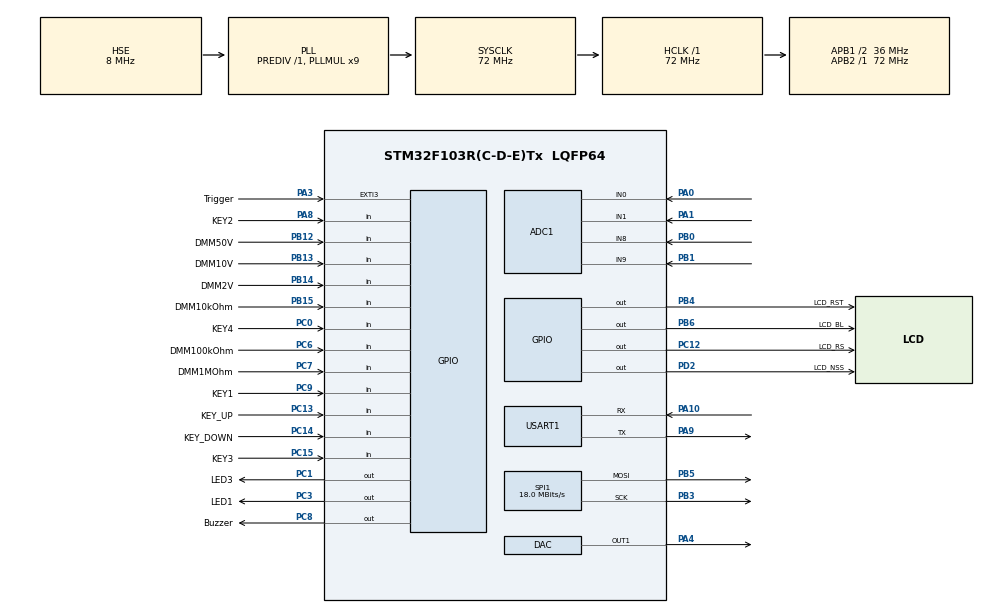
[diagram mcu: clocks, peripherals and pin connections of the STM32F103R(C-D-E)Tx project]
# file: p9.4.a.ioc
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ADC1.Channel-0\#ChannelRegularConversion=ADC_CHANNEL_1
ADC1.Channel-1\#ChannelInjectedConversion=ADC_CHANNEL_9
ADC1.Channel-2\#ChannelInjectedConversion=ADC_CHANNEL_VREFINT
ADC1.Channel-3\#ChannelInjectedConversion=ADC_CHANNEL_8
ADC1.Channel-4\#ChannelInjectedConversion=ADC_CHANNEL_0
ADC1.EnableInjectedConversion=ENABLE
ADC1.ExternalTrigConv=ADC_EXTERNALTRIGCONV_T3_TRGO
ADC1.ExternalTrigInjecConv=ADC_EXTERNALTRIGINJECCONV_T2_TRGO
ADC1.InjNumberOfConversion=4
ADC1.InjectedOffset-1\#ChannelInjectedConversion=0
ADC1.InjectedOffset-2\#ChannelInjectedConversion=0
ADC1.InjectedOffset-3\#ChannelInjectedConversion=0
ADC1.InjectedOffset-4\#ChannelInjectedConversion=0
ADC1.InjectedRank-1\#ChannelInjectedConversion=1
ADC1.InjectedRank-2\#ChannelInjectedConversion=2
ADC1.InjectedRank-3\#ChannelInjectedConversion=3
ADC1.InjectedRank-4\#ChannelInjectedConversion=4
ADC1.NbrOfConversionFlag=1
ADC1.Rank-0\#ChannelRegularConversion=1
ADC1.SamplingTime-0\#ChannelRegularConversion=ADC_SAMPLETIME_1CYCLE_5
ADC1.SamplingTime-1\#ChannelInjectedConversion=ADC_SAMPLETIME_1CYCLE_5
ADC1.SamplingTime-2\#ChannelInjectedConversion=ADC_SAMPLETIME_239CYCLES_5
ADC1.SamplingTime-3\#ChannelInjectedConversion=ADC_SAMPLETIME_1CYCLE_5
ADC1.SamplingTime-4\#ChannelInjectedConversion=ADC_SAMPLETIME_13CYCLES_5
ADC1.master=1
DAC.DAC_OutputBuffer=DAC_OUTPUTBUFFER_DISABLE
DAC.DAC_Trigger=DAC_TRIGGER_T5_TRGO
Dma.ADC1.1.Direction=DMA_PERIPH_TO_MEMORY
Dma.ADC1.1.Instance=DMA1_Channel1
Dma.ADC1.1.MemDataAlignment=DMA_MDATAALIGN_HALFWORD
Dma.ADC1.1.MemInc=DMA_MINC_ENABLE
Dma.ADC1.1.Mode=DMA_NORMAL
Dma.ADC1.1.PeriphDataAlignment=DMA_PDATAALIGN_HALFWORD
Dma.ADC1.1.PeriphInc=DMA_PINC_DISABLE
Dma.ADC1.1.Priority=DMA_PRIORITY_LOW
Dma.DAC_CH1.2.Direction=DMA_MEMORY_TO_PERIPH
Dma.DAC_CH1.2.Instance=DMA2_Channel3
Dma.DAC_CH1.2.MemDataAlignment=DMA_MDATAALIGN_HALFWORD
Dma.DAC_CH1.2.MemInc=DMA_MINC_ENABLE
Dma.DAC_CH1.2.Mode=DMA_CIRCULAR
Dma.DAC_CH1.2.PeriphDataAlignment=DMA_PDATAALIGN_HALFWORD
Dma.DAC_CH1.2.PeriphInc=DMA_PINC_DISABLE
Dma.DAC_CH1.2.Priority=DMA_PRIORITY_LOW
Dma.Request0=SPI1_TX
Dma.Request1=ADC1
Dma.Request2=DAC_CH1
Dma.SPI1_TX.0.Direction=DMA_MEMORY_TO_PERIPH
Dma.SPI1_TX.0.Instance=DMA1_Channel3
Dma.SPI1_TX.0.MemDataAlignment=DMA_MDATAALIGN_BYTE
Dma.SPI1_TX.0.MemInc=DMA_MINC_ENABLE
Dma.SPI1_TX.0.Mode=DMA_NORMAL
Dma.SPI1_TX.0.PeriphDataAlignment=DMA_PDATAALIGN_BYTE
Dma.SPI1_TX.0.PeriphInc=DMA_PINC_DISABLE
Dma.SPI1_TX.0.Priority=DMA_PRIORITY_LOW
Mcu.Family=STM32F1
Mcu.Name=STM32F103R(C-D-E)Tx
Mcu.Package=LQFP64
NVIC.ADC1_2_IRQn=true\:15\:0\:true\:false\:true\:true\:true\:true
NVIC.DMA1_Channel1_IRQn=true\:6\:0\:true\:false\:true\:false\:true\:true
NVIC.DMA1_Channel3_IRQn=true\:6\:0\:true\:false\:true\:false\:true\:true
NVIC.DMA2_Channel3_IRQn=true\:0\:0\:false\:false\:true\:false\:true\:true
NVIC.EXTI3_IRQn=true\:5\:0\:true\:false\:true\:true\:true\:true
NVIC.PriorityGroup=NVIC_PRIORITYGROUP_4
NVIC.TIM6_IRQn=true\:0\:0\:true\:false\:true\:false\:true\:true
NVIC.TimeBase=TIM6_IRQn
NVIC.TimeBaseIP=TIM6
PA0-WKUP.Signal=ADCx_IN0
PA1.Signal=ADCx_IN1
PA10.Mode=Asynchronous
PA10.Signal=USART1_RX
PA13.Mode=Serial_Wire
PA13.Signal=SYS_JTMS-SWDIO
PA14.Mode=Serial_Wire
PA14.Signal=SYS_JTCK-SWCLK
PA3.GPIO_Label=Trigger
PA3.Signal=GPXTI3
PA4.Signal=COMP_DAC1_group
PA8.GPIO_Label=KEY2
PA8.GPIO_PuPd=GPIO_PULLUP
PA8.Signal=GPIO_Input
PA9.Mode=Asynchronous
PA9.Signal=USART1_TX
PB0.Signal=ADCx_IN8
PB1.Signal=ADCx_IN9
PB12.GPIO_Label=DMM50V
PB12.GPIO_PuPd=GPIO_PULLDOWN
PB12.Signal=GPIO_Input
PB13.GPIO_Label=DMM10V
PB13.GPIO_PuPd=GPIO_PULLDOWN
PB13.Signal=GPIO_Input
PB14.GPIO_Label=DMM2V
PB14.GPIO_PuPd=GPIO_PULLDOWN
PB14.Signal=GPIO_Input
PB15.GPIO_Label=DMM10kOhm
PB15.GPIO_PuPd=GPIO_PULLDOWN
PB15.Signal=GPIO_Input
PB3.Mode=TX_Only_Simplex_Unidirect_Master
PB3.Signal=SPI1_SCK
PB4.GPIO_Label=LCD_RST
PB4.Signal=GPIO_Output
PB5.Mode=TX_Only_Simplex_Unidirect_Master
PB5.Signal=SPI1_MOSI
PB6.GPIO_Label=LCD_BL
PB6.Signal=GPIO_Output
PC0.GPIO_Label=KEY4
PC0.GPIO_PuPd=GPIO_PULLUP
PC0.Signal=GPIO_Input
PC1.GPIO_Label=LED3
PC1.Signal=GPIO_Output
PC12.GPIO_Label=LCD_RS
PC12.Signal=GPIO_Output
PC13-TAMPER-RTC.GPIO_Label=KEY_UP
PC13-TAMPER-RTC.GPIO_PuPd=GPIO_PULLUP
PC13-TAMPER-RTC.Signal=GPIO_Input
PC14-OSC32_IN.GPIO_Label=KEY_DOWN
PC14-OSC32_IN.GPIO_PuPd=GPIO_PULLUP
PC14-OSC32_IN.Signal=GPIO_Input
PC15-OSC32_OUT.GPIO_Label=KEY3
PC15-OSC32_OUT.GPIO_PuPd=GPIO_PULLUP
PC15-OSC32_OUT.Signal=GPIO_Input
PC3.GPIO_Label=LED1
PC3.Signal=GPIO_Output
PC6.GPIO_Label=DMM100kOhm
PC6.GPIO_PuPd=GPIO_PULLDOWN
PC6.Signal=GPIO_Input
PC7.GPIO_Label=DMM1MOhm
PC7.GPIO_PuPd=GPIO_PULLDOWN
PC7.Signal=GPIO_Input
PC8.GPIO_Label=Buzzer
PC8.GPIO_ModeDefaultOutputPP=GPIO_MODE_OUTPUT_PP
PC8.Signal=GPIO_Output
PC9.GPIO_Label=KEY1
PC9.GPIO_PuPd=GPIO_PULLUP
PC9.Signal=GPIO_Input
PD0-OSC_IN.Mode=HSE-External-Oscillator
PD0-OSC_IN.Signal=RCC_OSC_IN
PD1-OSC_OUT.Mode=HSE-External-Oscillator
PD1-OSC_OUT.Signal=RCC_OSC_OUT
PD2.GPIO_Label=LCD_NSS
PD2.PinState=GPIO_PIN_SET
PD2.Signal=GPIO_Output
ProjectManager.HeapSize=0x200
ProjectManager.StackSize=0x400
ProjectManager.TargetToolchain=STM32CubeIDE
RCC.ADCPresc=RCC_ADCPCLK2_DIV6
RCC.AHBFreq_Value=72000000
RCC.APB1CLKDivider=RCC_HCLK_DIV2
RCC.APB1Freq_Value=36000000
RCC.APB1TimFreq_Value=72000000
RCC.APB2Freq_Value=72000000
RCC.APB2TimFreq_Value=72000000
RCC.HCLKFreq_Value=72000000
RCC.PLLMUL=RCC_PLL_MUL9
RCC.PLLSourceVirtual=RCC_PLLSOURCE_HSE
RCC.SYSCLKFreq_VALUE=72000000
RCC.SYSCLKSource=RCC_SYSCLKSOURCE_PLLCLK
RCC.USBFreq_Value=72000000
SH.ADCx_IN0.0=ADC1_IN0,IN0
SH.ADCx_IN1.0=ADC1_IN1,IN1
SH.ADCx_IN8.0=ADC1_IN8,IN8
SH.ADCx_IN9.0=ADC1_IN9,IN9
SH.COMP_DAC1_group.0=DAC_OUT1,DAC_OUT1
SPI1.BaudRatePrescaler=SPI_BAUDRATEPRESCALER_4
SPI1.CalculateBaudRate=18.0 MBits/s
SPI1.Direction=SPI_DIRECTION_2LINES
SPI1.Mode=SPI_MODE_MASTER
SPI1.VirtualType=VM_MASTER
TIM2.Period=999
TIM2.Prescaler=7199
TIM2.TIM_MasterOutputTrigger=TIM_TRGO_UPDATE
TIM3.AutoReloadPreload=TIM_AUTORELOAD_PRELOAD_ENABLE
TIM3.Period=561
TIM3.Prescaler=0
TIM3.TIM_MasterOutputTrigger=TIM_TRGO_UPDATE
TIM5.AutoReloadPreload=TIM_AUTORELOAD_PRELOAD_ENABLE
TIM5.Period=1
TIM5.Prescaler=71
TIM5.TIM_MasterOutputTrigger=TIM_TRGO_UPDATE
TIM5.TIM_MasterSlaveMode=TIM_MASTERSLAVEMODE_DISABLE
USART1.VirtualMode=VM_ASYNC
VP_ADC1_Vref_Input.Mode=IN-Vrefint
VP_SYS_VS_tim6.Mode=TIM6
VP_TIM2_VS_ClockSourceINT.Mode=Internal
VP_TIM3_VS_ClockSourceINT.Mode=Internal
VP_TIM5_VS_ClockSourceINT.Mode=Internal
board=custom

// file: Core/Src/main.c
/* USER CODE BEGIN Header */
/**
  ******************************************************************************
  * @file           : main.c
  * @brief          : Main program body
  ******************************************************************************
  * @attention
  *
  * Copyright (c) 2026 STMicroelectronics.
  * All rights reserved.
  *
  * This software is licensed under terms that can be found in the LICENSE file
  * in the root directory of this software component.
  * If no LICENSE file comes with this software, it is provided AS-IS.
  *
  ******************************************************************************
  */
/* USER CODE END Header */
#include "main.h"

/* USER CODE BEGIN Includes */
#include "FreeRTOS.h"
#include "task.h"
#include "key_task.h"
#include "buzzer_task.h"
#include "lcd_task.h"
#include "led_task.h"
#include "dmm.h"
#include "waveform_capture.h"
#include "waveform_generator.h"
/* USER CODE END Includes */

ADC_HandleTypeDef hadc1;
DMA_HandleTypeDef hdma_adc1;

DAC_HandleTypeDef hdac;
DMA_HandleTypeDef hdma_dac_ch1;

SPI_HandleTypeDef hspi1;
DMA_HandleTypeDef hdma_spi1_tx;

TIM_HandleTypeDef htim2;
TIM_HandleTypeDef htim3;
TIM_HandleTypeDef htim5;

UART_HandleTypeDef huart1;

void SystemClock_Config(void);
static void MX_GPIO_Init(void);
static void MX_DMA_Init(void);
static void MX_USART1_UART_Init(void);
static void MX_SPI1_Init(void);
static void MX_ADC1_Init(void);
static void MX_TIM2_Init(void);
static void MX_TIM3_Init(void);
static void MX_DAC_Init(void);
static void MX_TIM5_Init(void);

int main(void)
{

  /* MCU Configuration--------------------------------------------------------*/

  /* Reset of all peripherals, Initializes the Flash interface and the Systick. */
  HAL_Init();

  /* Configure the system clock */
  SystemClock_Config();

  /* Initialize all configured peripherals */
  MX_GPIO_Init();
  MX_DMA_Init();
  MX_USART1_UART_Init();
  MX_SPI1_Init();
  MX_ADC1_Init();
  MX_TIM2_Init();
  MX_TIM3_Init();
  MX_DAC_Init();
  MX_TIM5_Init();
  /* USER CODE BEGIN 2 */

  Buzzer_Init();	//蜂鸣器初始化
  vDMMInit(); // 对数字万用表模块进行初始化
  vLCDTaskInit();	//对LCD任务初始化
  WaveformCapture_Init();	//对波形捕捉器进行初始化
  WaveformGenerator_Init();//初始化波形发生器

	  //创建按钮任务
  xTaskCreate(vKeyTask, "Key", 128, NULL, 3, NULL);

	  //创建蜂鸣器任务
  xTaskCreate(vBuzzerTask, "Buzzer", 128, NULL, 1, NULL);

  	  //创建LCD任务
  xTaskCreate(vLCDTask,"LCD",256,NULL,1,NULL);

  	  //创建LED任务（测试使用）
  xTaskCreate(vLEDTask, "LED", 128, NULL, 0, NULL);

  //启动FreeRTOS调度器
  vTaskStartScheduler();

  /* USER CODE END 2 */

  /* Infinite loop */
  while (1)
  {

  }
}

void SystemClock_Config(void)
{
  RCC_OscInitTypeDef RCC_OscInitStruct = {0};
  RCC_ClkInitTypeDef RCC_ClkInitStruct = {0};
  RCC_PeriphCLKInitTypeDef PeriphClkInit = {0};

  /** Initializes the RCC Oscillators according to the specified parameters
  * in the RCC_OscInitTypeDef structure.
  */
  RCC_OscInitStruct.OscillatorType = RCC_OSCILLATORTYPE_HSE;
  RCC_OscInitStruct.HSEState = RCC_HSE_ON;
  RCC_OscInitStruct.HSEPredivValue = RCC_HSE_PREDIV_DIV1;
  RCC_OscInitStruct.HSIState = RCC_HSI_ON;
  RCC_OscInitStruct.PLL.PLLState = RCC_PLL_ON;
  RCC_OscInitStruct.PLL.PLLSource = RCC_PLLSOURCE_HSE;
  RCC_OscInitStruct.PLL.PLLMUL = RCC_PLL_MUL9;
  if (HAL_RCC_OscConfig(&RCC_OscInitStruct) != HAL_OK)
  {
    Error_Handler();
  }

  /** Initializes the CPU, AHB and APB buses clocks
  */
  RCC_ClkInitStruct.ClockType = RCC_CLOCKTYPE_HCLK|RCC_CLOCKTYPE_SYSCLK
                              |RCC_CLOCKTYPE_PCLK1|RCC_CLOCKTYPE_PCLK2;
  RCC_ClkInitStruct.SYSCLKSource = RCC_SYSCLKSOURCE_PLLCLK;
  RCC_ClkInitStruct.AHBCLKDivider = RCC_SYSCLK_DIV1;
  RCC_ClkInitStruct.APB1CLKDivider = RCC_HCLK_DIV2;
  RCC_ClkInitStruct.APB2CLKDivider = RCC_HCLK_DIV1;

  if (HAL_RCC_ClockConfig(&RCC_ClkInitStruct, FLASH_LATENCY_2) != HAL_OK)
  {
    Error_Handler();
  }
  PeriphClkInit.PeriphClockSelection = RCC_PERIPHCLK_ADC;
  PeriphClkInit.AdcClockSelection = RCC_ADCPCLK2_DIV6;
  if (HAL_RCCEx_PeriphCLKConfig(&PeriphClkInit) != HAL_OK)
  {
    Error_Handler();
  }
}

static void MX_ADC1_Init(void)
{

  ADC_ChannelConfTypeDef sConfig = {0};
  ADC_InjectionConfTypeDef sConfigInjected = {0};

  /** Common config
  */
  hadc1.Instance = ADC1;
  hadc1.Init.ScanConvMode = ADC_SCAN_ENABLE;
  hadc1.Init.ContinuousConvMode = DISABLE;
  hadc1.Init.DiscontinuousConvMode = DISABLE;
  hadc1.Init.ExternalTrigConv = ADC_EXTERNALTRIGCONV_T3_TRGO;
  hadc1.Init.DataAlign = ADC_DATAALIGN_RIGHT;
  hadc1.Init.NbrOfConversion = 1;
  if (HAL_ADC_Init(&hadc1) != HAL_OK)
  {
    Error_Handler();
  }

  /** Configure Regular Channel
  */
  sConfig.Channel = ADC_CHANNEL_1;
  sConfig.Rank = ADC_REGULAR_RANK_1;
  sConfig.SamplingTime = ADC_SAMPLETIME_1CYCLE_5;
  if (HAL_ADC_ConfigChannel(&hadc1, &sConfig) != HAL_OK)
  {
    Error_Handler();
  }

  /** Configure Injected Channel
  */
  sConfigInjected.InjectedChannel = ADC_CHANNEL_9;
  sConfigInjected.InjectedRank = ADC_INJECTED_RANK_1;
  sConfigInjected.InjectedNbrOfConversion = 4;
  sConfigInjected.InjectedSamplingTime = ADC_SAMPLETIME_1CYCLE_5;
  sConfigInjected.ExternalTrigInjecConv = ADC_EXTERNALTRIGINJECCONV_T2_TRGO;
  sConfigInjected.AutoInjectedConv = DISABLE;
  sConfigInjected.InjectedDiscontinuousConvMode = DISABLE;
  sConfigInjected.InjectedOffset = 0;
  if (HAL_ADCEx_InjectedConfigChannel(&hadc1, &sConfigInjected) != HAL_OK)
  {
    Error_Handler();
  }

  /** Configure Injected Channel
  */
  sConfigInjected.InjectedChannel = ADC_CHANNEL_VREFINT;
  sConfigInjected.InjectedRank = ADC_INJECTED_RANK_2;
  sConfigInjected.InjectedSamplingTime = ADC_SAMPLETIME_239CYCLES_5;
  if (HAL_ADCEx_InjectedConfigChannel(&hadc1, &sConfigInjected) != HAL_OK)
  {
    Error_Handler();
  }

  /** Configure Injected Channel
  */
  sConfigInjected.InjectedChannel = ADC_CHANNEL_8;
  sConfigInjected.InjectedRank = ADC_INJECTED_RANK_3;
  sConfigInjected.InjectedSamplingTime = ADC_SAMPLETIME_1CYCLE_5;
  if (HAL_ADCEx_InjectedConfigChannel(&hadc1, &sConfigInjected) != HAL_OK)
  {
    Error_Handler();
  }

  /** Configure Injected Channel
  */
  sConfigInjected.InjectedChannel = ADC_CHANNEL_0;
  sConfigInjected.InjectedRank = ADC_INJECTED_RANK_4;
  sConfigInjected.InjectedSamplingTime = ADC_SAMPLETIME_13CYCLES_5;
  if (HAL_ADCEx_InjectedConfigChannel(&hadc1, &sConfigInjected) != HAL_OK)
  {
    Error_Handler();
  }

}

static void MX_DAC_Init(void)
{

  DAC_ChannelConfTypeDef sConfig = {0};

  /** DAC Initialization
  */
  hdac.Instance = DAC;
  if (HAL_DAC_Init(&hdac) != HAL_OK)
  {
    Error_Handler();
  }

  /** DAC channel OUT1 config
  */
  sConfig.DAC_Trigger = DAC_TRIGGER_T5_TRGO;
  sConfig.DAC_OutputBuffer = DAC_OUTPUTBUFFER_DISABLE;
  if (HAL_DAC_ConfigChannel(&hdac, &sConfig, DAC_CHANNEL_1) != HAL_OK)
  {
    Error_Handler();
  }

}

static void MX_SPI1_Init(void)
{

  /* SPI1 parameter configuration*/
  hspi1.Instance = SPI1;
  hspi1.Init.Mode = SPI_MODE_MASTER;
  hspi1.Init.Direction = SPI_DIRECTION_2LINES;
  hspi1.Init.DataSize = SPI_DATASIZE_8BIT;
  hspi1.Init.CLKPolarity = SPI_POLARITY_LOW;
  hspi1.Init.CLKPhase = SPI_PHASE_1EDGE;
  hspi1.Init.NSS = SPI_NSS_SOFT;
  hspi1.Init.BaudRatePrescaler = SPI_BAUDRATEPRESCALER_4;
  hspi1.Init.FirstBit = SPI_FIRSTBIT_MSB;
  hspi1.Init.TIMode = SPI_TIMODE_DISABLE;
  hspi1.Init.CRCCalculation = SPI_CRCCALCULATION_DISABLE;
  hspi1.Init.CRCPolynomial = 10;
  if (HAL_SPI_Init(&hspi1) != HAL_OK)
  {
    Error_Handler();
  }

}

static void MX_TIM2_Init(void)
{

  TIM_ClockConfigTypeDef sClockSourceConfig = {0};
  TIM_MasterConfigTypeDef sMasterConfig = {0};

  htim2.Instance = TIM2;
  htim2.Init.Prescaler = 7199;
  htim2.Init.CounterMode = TIM_COUNTERMODE_UP;
  htim2.Init.Period = 999;
  htim2.Init.ClockDivision = TIM_CLOCKDIVISION_DIV1;
  htim2.Init.AutoReloadPreload = TIM_AUTORELOAD_PRELOAD_DISABLE;
  if (HAL_TIM_Base_Init(&htim2) != HAL_OK)
  {
    Error_Handler();
  }
  sClockSourceConfig.ClockSource = TIM_CLOCKSOURCE_INTERNAL;
  if (HAL_TIM_ConfigClockSource(&htim2, &sClockSourceConfig) != HAL_OK)
  {
    Error_Handler();
  }
  sMasterConfig.MasterOutputTrigger = TIM_TRGO_UPDATE;
  sMasterConfig.MasterSlaveMode = TIM_MASTERSLAVEMODE_DISABLE;
  if (HAL_TIMEx_MasterConfigSynchronization(&htim2, &sMasterConfig) != HAL_OK)
  {
    Error_Handler();
  }

}

static void MX_TIM3_Init(void)
{

  TIM_ClockConfigTypeDef sClockSourceConfig = {0};
  TIM_MasterConfigTypeDef sMasterConfig = {0};

  htim3.Instance = TIM3;
  htim3.Init.Prescaler = 0;
  htim3.Init.CounterMode = TIM_COUNTERMODE_UP;
  htim3.Init.Period = 561;
  htim3.Init.ClockDivision = TIM_CLOCKDIVISION_DIV1;
  htim3.Init.AutoReloadPreload = TIM_AUTORELOAD_PRELOAD_ENABLE;
  if (HAL_TIM_Base_Init(&htim3) != HAL_OK)
  {
    Error_Handler();
  }
  sClockSourceConfig.ClockSource = TIM_CLOCKSOURCE_INTERNAL;
  if (HAL_TIM_ConfigClockSource(&htim3, &sClockSourceConfig) != HAL_OK)
  {
    Error_Handler();
  }
  sMasterConfig.MasterOutputTrigger = TIM_TRGO_UPDATE;
  sMasterConfig.MasterSlaveMode = TIM_MASTERSLAVEMODE_DISABLE;
  if (HAL_TIMEx_MasterConfigSynchronization(&htim3, &sMasterConfig) != HAL_OK)
  {
    Error_Handler();
  }

}

static void MX_TIM5_Init(void)
{

  TIM_ClockConfigTypeDef sClockSourceConfig = {0};
  TIM_MasterConfigTypeDef sMasterConfig = {0};

  htim5.Instance = TIM5;
  htim5.Init.Prescaler = 71;
  htim5.Init.CounterMode = TIM_COUNTERMODE_UP;
  htim5.Init.Period = 1;
  htim5.Init.ClockDivision = TIM_CLOCKDIVISION_DIV1;
  htim5.Init.AutoReloadPreload = TIM_AUTORELOAD_PRELOAD_ENABLE;
  if (HAL_TIM_Base_Init(&htim5) != HAL_OK)
  {
    Error_Handler();
  }
  sClockSourceConfig.ClockSource = TIM_CLOCKSOURCE_INTERNAL;
  if (HAL_TIM_ConfigClockSource(&htim5, &sClockSourceConfig) != HAL_OK)
  {
    Error_Handler();
  }
  sMasterConfig.MasterOutputTrigger = TIM_TRGO_UPDATE;
  sMasterConfig.MasterSlaveMode = TIM_MASTERSLAVEMODE_DISABLE;
  if (HAL_TIMEx_MasterConfigSynchronization(&htim5, &sMasterConfig) != HAL_OK)
  {
    Error_Handler();
  }

}

static void MX_USART1_UART_Init(void)
{

  huart1.Instance = USART1;
  huart1.Init.BaudRate = 115200;
  huart1.Init.WordLength = UART_WORDLENGTH_8B;
  huart1.Init.StopBits = UART_STOPBITS_1;
  huart1.Init.Parity = UART_PARITY_NONE;
  huart1.Init.Mode = UART_MODE_TX_RX;
  huart1.Init.HwFlowCtl = UART_HWCONTROL_NONE;
  huart1.Init.OverSampling = UART_OVERSAMPLING_16;
  if (HAL_UART_Init(&huart1) != HAL_OK)
  {
    Error_Handler();
  }

}

static void MX_DMA_Init(void)
{

  /* DMA controller clock enable */
  __HAL_RCC_DMA1_CLK_ENABLE();
  __HAL_RCC_DMA2_CLK_ENABLE();

  /* DMA interrupt init */
  /* DMA1_Channel1_IRQn interrupt configuration */
  HAL_NVIC_SetPriority(DMA1_Channel1_IRQn, 6, 0);
  HAL_NVIC_EnableIRQ(DMA1_Channel1_IRQn);
  /* DMA1_Channel3_IRQn interrupt configuration */
  HAL_NVIC_SetPriority(DMA1_Channel3_IRQn, 6, 0);
  HAL_NVIC_EnableIRQ(DMA1_Channel3_IRQn);
  /* DMA2_Channel3_IRQn interrupt configuration */
  HAL_NVIC_SetPriority(DMA2_Channel3_IRQn, 0, 0);
  HAL_NVIC_EnableIRQ(DMA2_Channel3_IRQn);

}

static void MX_GPIO_Init(void)
{
  GPIO_InitTypeDef GPIO_InitStruct = {0};

  /* GPIO Ports Clock Enable */
  __HAL_RCC_GPIOC_CLK_ENABLE();
  __HAL_RCC_GPIOD_CLK_ENABLE();
  __HAL_RCC_GPIOA_CLK_ENABLE();
  __HAL_RCC_GPIOB_CLK_ENABLE();

  /*Configure GPIO pin Output Level */
  HAL_GPIO_WritePin(GPIOC, LED3_Pin|LED1_Pin|Buzzer_Pin|LCD_RS_Pin, GPIO_PIN_RESET);

  /*Configure GPIO pin Output Level */
  HAL_GPIO_WritePin(LCD_NSS_GPIO_Port, LCD_NSS_Pin, GPIO_PIN_SET);

  /*Configure GPIO pin Output Level */
  HAL_GPIO_WritePin(GPIOB, LCD_RST_Pin|LCD_BL_Pin, GPIO_PIN_RESET);

  /*Configure GPIO pins : KEY_UP_Pin KEY_DOWN_Pin KEY3_Pin KEY4_Pin
                           KEY1_Pin */
  GPIO_InitStruct.Pin = KEY_UP_Pin|KEY_DOWN_Pin|KEY3_Pin|KEY4_Pin
                          |KEY1_Pin;
  GPIO_InitStruct.Mode = GPIO_MODE_INPUT;
  GPIO_InitStruct.Pull = GPIO_PULLUP;
  HAL_GPIO_Init(GPIOC, &GPIO_InitStruct);

  /*Configure GPIO pins : LED3_Pin LED1_Pin Buzzer_Pin LCD_RS_Pin */
  GPIO_InitStruct.Pin = LED3_Pin|LED1_Pin|Buzzer_Pin|LCD_RS_Pin;
  GPIO_InitStruct.Mode = GPIO_MODE_OUTPUT_PP;
  GPIO_InitStruct.Pull = GPIO_NOPULL;
  GPIO_InitStruct.Speed = GPIO_SPEED_FREQ_LOW;
  HAL_GPIO_Init(GPIOC, &GPIO_InitStruct);

  /*Configure GPIO pin : Trigger_Pin */
  GPIO_InitStruct.Pin = Trigger_Pin;
  GPIO_InitStruct.Mode = GPIO_MODE_IT_RISING;
  GPIO_InitStruct.Pull = GPIO_NOPULL;
  HAL_GPIO_Init(Trigger_GPIO_Port, &GPIO_InitStruct);

  /*Configure GPIO pins : DMM50V_Pin DMM10V_Pin DMM2V_Pin DMM10kOhm_Pin */
  GPIO_InitStruct.Pin = DMM50V_Pin|DMM10V_Pin|DMM2V_Pin|DMM10kOhm_Pin;
  GPIO_InitStruct.Mode = GPIO_MODE_INPUT;
  GPIO_InitStruct.Pull = GPIO_PULLDOWN;
  HAL_GPIO_Init(GPIOB, &GPIO_InitStruct);

  /*Configure GPIO pins : DMM100kOhm_Pin DMM1MOhm_Pin */
  GPIO_InitStruct.Pin = DMM100kOhm_Pin|DMM1MOhm_Pin;
  GPIO_InitStruct.Mode = GPIO_MODE_INPUT;
  GPIO_InitStruct.Pull = GPIO_PULLDOWN;
  HAL_GPIO_Init(GPIOC, &GPIO_InitStruct);

  /*Configure GPIO pin : KEY2_Pin */
  GPIO_InitStruct.Pin = KEY2_Pin;
  GPIO_InitStruct.Mode = GPIO_MODE_INPUT;
  GPIO_InitStruct.Pull = GPIO_PULLUP;
  HAL_GPIO_Init(KEY2_GPIO_Port, &GPIO_InitStruct);

  /*Configure GPIO pin : LCD_NSS_Pin */
  GPIO_InitStruct.Pin = LCD_NSS_Pin;
  GPIO_InitStruct.Mode = GPIO_MODE_OUTPUT_PP;
  GPIO_InitStruct.Pull = GPIO_NOPULL;
  GPIO_InitStruct.Speed = GPIO_SPEED_FREQ_LOW;
  HAL_GPIO_Init(LCD_NSS_GPIO_Port, &GPIO_InitStruct);

  /*Configure GPIO pins : LCD_RST_Pin LCD_BL_Pin */
  GPIO_InitStruct.Pin = LCD_RST_Pin|LCD_BL_Pin;
  GPIO_InitStruct.Mode = GPIO_MODE_OUTPUT_PP;
  GPIO_InitStruct.Pull = GPIO_NOPULL;
  GPIO_InitStruct.Speed = GPIO_SPEED_FREQ_LOW;
  HAL_GPIO_Init(GPIOB, &GPIO_InitStruct);

  /* EXTI interrupt init*/
  HAL_NVIC_SetPriority(EXTI3_IRQn, 5, 0);
  HAL_NVIC_EnableIRQ(EXTI3_IRQn);

}

void HAL_TIM_PeriodElapsedCallback(TIM_HandleTypeDef *htim)
{
  if (htim->Instance == TIM6)
  {
    HAL_IncTick();
  }
}

void Error_Handler(void)
{
  __disable_irq();
  while (1)
  {
  }
}
